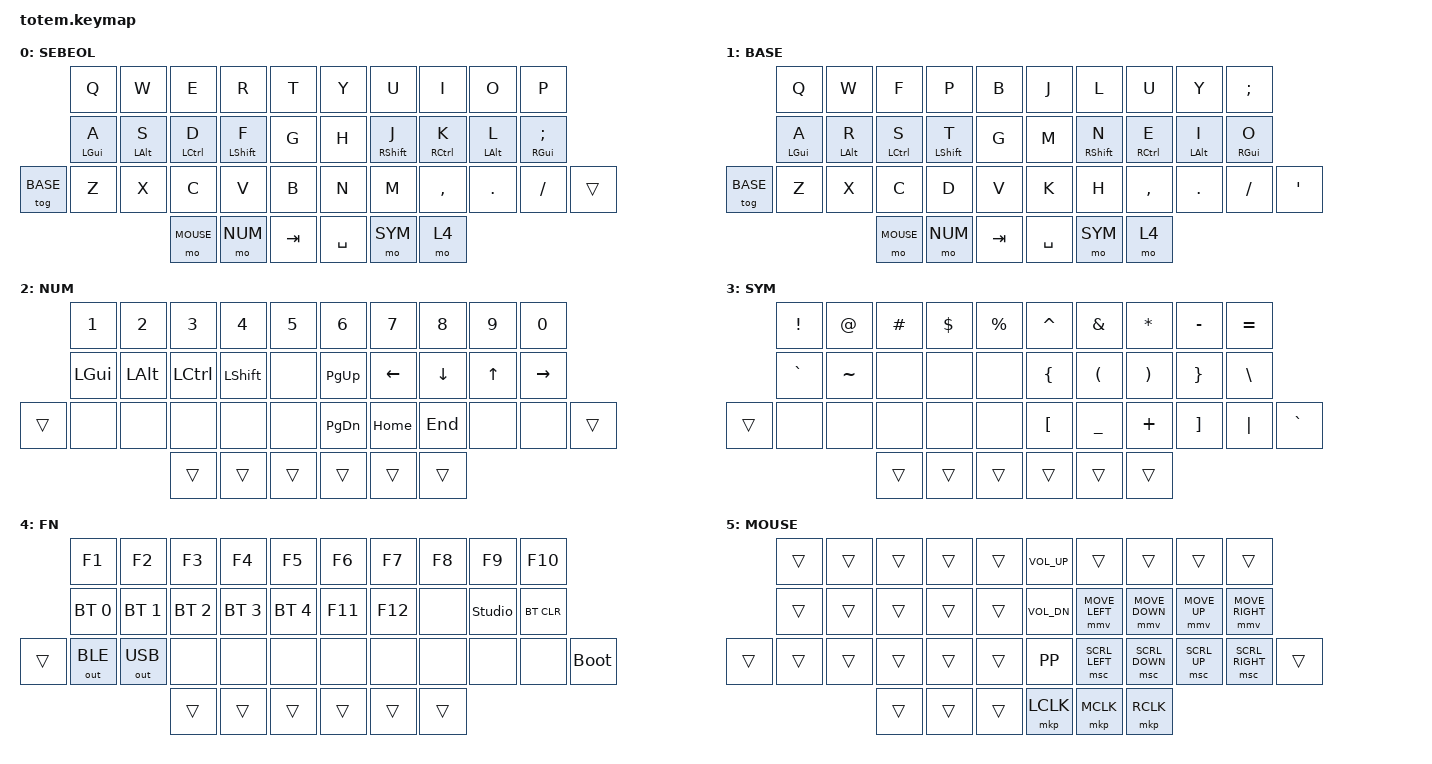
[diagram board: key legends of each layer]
/* 핵심 설정: 마우스 기본 속도 조절 */

#define ZMK_POINTING_DEFAULT_MOVE_VAL 1500
#define ZMK_POINTING_DEFAULT_SCRL_VAL 20

#include <behaviors.dtsi>
#include <dt-bindings/zmk/bt.h>
#include <dt-bindings/zmk/keys.h>
#include <dt-bindings/zmk/outputs.h>
#include <dt-bindings/zmk/pointing.h>

/* 레이어 인덱스 정의 (이름 일치화) */

#define SEBEOL 0
#define BASE   1
#define NUM    2
#define SYM    3
#define FN     4
#define MOUSE  5

/* 마우스 가속도 및 감도 설정 */

&mmv {
    time-to-max-speed-ms = <500>;
    delay-ms = <0>;
};

&msc {
    time-to-max-speed-ms = <300>;
    delay-ms = <0>;
};

/ {
    chosen {
        // 1번 레이어(Colemak-DH)를 기본으로 설정

        zmk,keymap_default_nodes = <&base_layer>; // 레이어에 라벨이 있을 경우
    };

    behaviors {
        /* 홈로우 모디파이어 */

        hm: homerow_mods {
            compatible = "zmk,behavior-hold-tap";
            label = "HOMEROW_MODS";
            #binding-cells = <2>;
            tapping-term-ms = <200>;
            quick-tap-ms = <175>;
            flavor = "tap-preferred";
            bindings = <&kp>, <&kp>;
        };
    };

    combos {
        compatible = "zmk,combos";

        /* ENTER: N(16) + E(17) */

        cmb_enter {
            bindings = <&kp ENTER>;
            key-positions = <16 17>;
            timeout-ms = <50>;
        };

        /* BACKSPACE: E(17) + I(18) */

        cmb_bksp {
            bindings = <&kp BACKSPACE>;
            key-positions = <17 18>;
            timeout-ms = <50>;
        };

        /* ESC: N(16) + I(18) */

        cmb_esc {
            bindings = <&kp ESC>;
            key-positions = <16 18>;
            timeout-ms = <50>;
        };
    };

    keymap {
        compatible = "zmk,keymap";

        /* 0: Sebeolshik Support (Qwerty-based) */

        sebeol_layer {
            label = "SEBEOL";
            bindings = <
           &kp Q       &kp W       &kp E        &kp R        &kp T      &kp Y      &kp U        &kp I        &kp O       &kp P
           &hm LGUI A  &hm LALT S  &hm LCTRL D  &hm LSHFT F  &kp G      &kp H      &hm RSHFT J  &hm RCTRL K  &hm LALT L  &hm RGUI SEMI
&tog BASE  &kp Z       &kp X       &kp C        &kp V        &kp B      &kp N      &kp M        &kp COMMA    &kp DOT     &kp FSLH       &trans
                                   &mo MOUSE    &mo NUM      &kp TAB    &kp SPACE  &mo SYM      &mo 4
            >;
        };

        /* 1: Colemak-DH (Base) */

        base_layer: base_layer {
            label = "BASE";
            bindings = <
           &kp Q       &kp W       &kp F        &kp P        &kp B      &kp J      &kp L        &kp U        &kp Y       &kp SEMI
           &hm LGUI A  &hm LALT R  &hm LCTRL S  &hm LSHFT T  &kp G      &kp M      &hm RSHFT N  &hm RCTRL E  &hm LALT I  &hm RGUI O
&tog BASE  &kp Z       &kp X       &kp C        &kp D        &kp V      &kp K      &kp H        &kp COMMA    &kp DOT     &kp FSLH    &kp SQT
                                   &mo MOUSE    &mo NUM      &kp TAB    &kp SPACE  &mo SYM      &mo 4
            >;
        };

        /* 2: Number & Navigation */

        num_layer {
            label = "NUM";
            bindings = <
        &kp N1    &kp N2    &kp N3     &kp N4     &kp N5    &kp N6     &kp N7    &kp N8    &kp N9  &kp N0
        &kp LGUI  &kp LALT  &kp LCTRL  &kp LSHFT  &none     &kp PG_UP  &kp LEFT  &kp DOWN  &kp UP  &kp RIGHT
&trans  &none     &none     &none      &none      &none     &kp PG_DN  &kp HOME  &kp END   &none   &none      &trans
                            &trans     &trans     &trans    &trans     &trans    &trans
            >;
        };

        /* 3: Symbols */

        sym_layer {
            label = "SYM";
            bindings = <
        &kp EXCL   &kp AT     &kp HASH  &kp DLLR  &kp PRCNT    &kp CARET  &kp AMPS   &kp ASTRK  &kp MINUS  &kp EQUAL
        &kp GRAVE  &kp TILDE  &none     &none     &none        &kp LBRC   &kp LPAR   &kp RPAR   &kp RBRC   &kp BSLH
&trans  &none      &none      &none     &none     &none        &kp LBKT   &kp UNDER  &kp PLUS   &kp RBKT   &kp PIPE   &kp GRAVE
                              &trans    &trans    &trans       &trans     &trans     &trans
            >;
        };

        /* 4: System Management */

        fn_layer {
            label = "FN";
            bindings = <
        &kp F1        &kp F2        &kp F3        &kp F4        &kp F5          &kp F6   &kp F7   &kp F8  &kp F9          &kp F10
        &bt BT_SEL 0  &bt BT_SEL 1  &bt BT_SEL 2  &bt BT_SEL 3  &bt BT_SEL 4    &kp F11  &kp F12  &none   &studio_unlock  &bt BT_CLR
&trans  &out OUT_BLE  &out OUT_USB  &none         &none         &none           &none    &none    &none   &none           &none       &bootloader
                                    &trans        &trans        &trans          &trans   &trans   &trans
            >;
        };

        /* 5: Mouse Mode */

        mouse_layer {
            label = "MOUSE";
            bindings = <
        &trans  &trans  &trans  &trans  &trans    &kp K_VOL_UP  &trans          &trans          &trans        &trans
        &trans  &trans  &trans  &trans  &trans    &kp K_VOL_DN  &mmv MOVE_LEFT  &mmv MOVE_DOWN  &mmv MOVE_UP  &mmv MOVE_RIGHT
&trans  &trans  &trans  &trans  &trans  &trans    &kp K_PP      &msc SCRL_LEFT  &msc SCRL_DOWN  &msc SCRL_UP  &msc SCRL_RIGHT  &trans
                        &trans  &trans  &trans    &mkp LCLK     &mkp MCLK       &mkp RCLK
            >;
        };
    };
};
